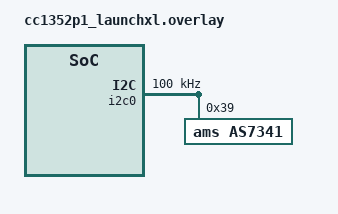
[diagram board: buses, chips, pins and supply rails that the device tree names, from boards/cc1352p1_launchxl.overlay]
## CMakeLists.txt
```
cmake_minimum_required(VERSION 3.20.0)
find_package(Zephyr REQUIRED HINTS $ENV{ZEPHYR_BASE})
project(as7341_spectrometry)

target_sources(app PRIVATE 
src/main.c
src/as7341.c
)
```

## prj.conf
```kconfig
CONFIG_PRINTK=y
CONFIG_LOG=y
CONFIG_LOG_DEFAULT_LEVEL=0
CONFIG_USERSPACE=y
CONFIG_I2C=y
CONFIG_I2C_LOG_LEVEL_DBG=n



CONFIG_STDOUT_CONSOLE=y
CONFIG_SERIAL=y
CONFIG_FPU=y
CONFIG_TEST=n
CONFIG_THREAD_RUNTIME_STATS=n
CONFIG_NEWLIB_LIBC=y
CONFIG_NEWLIB_LIBC_FLOAT_PRINTF=y

CONFIG_MAIN_STACK_SIZE=4096


CONFIG_ZSL=y
CONFIG_ZSL_PLATFORM_OPT=2
CONFIG_ZSL_SINGLE_PRECISION=n
CONFIG_ZSL_VECTOR_INLINE=n
CONFIG_ZSL_MATRIX_INLINE=n
CONFIG_ZSL_BOUNDS_CHECKS=y
```

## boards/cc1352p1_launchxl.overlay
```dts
&pinctrl {

    /* I2C0 */
    i2c0_scl_default: i2c0_scl_default {
        pinmux = <21 IOC_PORT_MCU_I2C_MSSCL>;
        bias-pull-up;
        drive-open-drain;
        input-enable;
    };
    i2c0_sda_default: i2c0_sda_default {
        pinmux = <5 IOC_PORT_MCU_I2C_MSSDA>;
        bias-pull-up;
        drive-open-drain;
        input-enable;
    };
 };
 

&i2c0 {
    status = "okay";
    clock-frequency = <I2C_BITRATE_STANDARD>;
    pinctrl-0 = <&i2c0_scl_default &i2c0_sda_default>;
    
    as7341@39 {
        compatible = "ams,as7341";
        reg = <0x39>;
        label = "AS7341";
    };
};
```

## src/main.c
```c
#include <stdio.h>
#include <stdlib.h>

#include <zephyr/kernel.h>
#include <zsl/zsl.h>
#include <zsl/matrices.h>
#include <zsl/colorimetry.h>

#include "as7341.h"
#include "cm.h"
#include "v_lambda.h"

#define COLOR_METRICS
#define SPECTRUM_ESTIMATION

#define CM_ROWS 401
#define CM_COLS 8

#define SPD_SIZE 401  // Wavelengths from 380 nm to 780 nm

#define STACK_SIZE 4096
#define PRIORITY 7

// Message queue buffer
#define QUEUE_SIZE 5  // Store up to 5 sensor readings
K_MSGQ_DEFINE(sensor_msgq, sizeof(int[8]), QUEUE_SIZE, 4);

// Semaphore to signal processing thread
K_SEM_DEFINE(sem_process, 0, 1);

// Thread stacks
K_THREAD_STACK_DEFINE(sensor_stack, STACK_SIZE);
K_THREAD_STACK_DEFINE(process_stack, STACK_SIZE);

// Thread control
struct k_thread sensor_thread;
struct k_thread process_thread;

float result_matrix[CM_ROWS] = {0};

// Declare the global XYZ struct
struct zsl_clr_xyz xyz; 
struct zsl_clr_xyy xyy;
struct zsl_clr_uv60 uv;
struct zsl_clr_cct cct;
enum zsl_clr_uv_cct_method method = ZSL_CLR_UV_CCT_METHOD_MCCAMY;

// define illuminance

typedef struct {
    float wavelength;
    float value;
} PhotopicData;

// Thread to read sensor data
void thread_read_sensor(void *p1, void *p2, void *p3) {
    if (DEV_ModuleInit() < 0) {
        printk("Module initialization failed\n");
        return;
    }

    const struct device *i2c_dev = DEVICE_DT_GET(DT_NODELABEL(i2c0));
    if (!device_is_ready(i2c_dev)) {
        printk("I2C device is not ready\n");
        return;
    }

    eMode_t mode = eSpm;
    if (AS7341_Init(i2c_dev, mode) != 0) {
        printk("AS7341 initialization failed\n");
        return;
    }

    AS7341_ATIME_config(i2c_dev, 100);
    AS7341_ASTEP_config(i2c_dev, 999);
    AS7341_AGAIN_config(i2c_dev, 6);
    AS7341_EnableLED(i2c_dev, true);
    k_msleep(100);

    sModeOneData_t data;
    sModeTwoData_t data2;

       

    while (1) {

        AS7341_startMeasure(i2c_dev, eF1F4ClearNIR, eSpm);
        data = AS7341_ReadSpectralDataOne(i2c_dev);
                
        
        AS7341_startMeasure(i2c_dev, eF5F8ClearNIR, eSpm);
        data2=AS7341_ReadSpectralDataTwo(i2c_dev);
        
        printk("[Thread Read] Reading sensor data...\n");

        int sensor_data[8];
        sensor_data[0] = data.channel1;
        sensor_data[1] = data.channel2;
        sensor_data[2] = data.channel3;
        sensor_data[3] = data.channel4;
        sensor_data[4] = data2.channel5;
        sensor_data[5] = data2.channel6;
        sensor_data[6] = data2.channel7;
        sensor_data[7] = data2.channel8;

        printk("[Thread Read] Storing data in queue...\n");

        // Send sensor data to message queue (blocking if full)
        k_msgq_put(&sensor_msgq, &sensor_data, K_FOREVER);

        // Print sensor vector for debugging
        for (int i = 0; i < 8; i++) {
            printk("sensor_data[%d] = %d\n", i, sensor_data[i]);
        }

        // Signal processing thread that data is available
        k_sem_give(&sem_process);

        k_msleep(2000);
    }
}

// Function to multiply matrices
void matrix_multiply(int *sensor_data) {
    printk("[Matrix Multiply] Starting multiplication...\n");

    for (int i = 0; i < CM_ROWS; i++) {
        float sum = 0.0f;
        for (int j = 0; j < CM_COLS; j++) {
            sum += cm_data[i][j] * sensor_data[j];
        }
        result_matrix[i] = sum;
    }

    printk("[Matrix Multiply] Multiplication complete.\n");

    // for (int i = 0; i < 401; i++) {
    //     printk("result_matrix[%d] = %f\n", i, result_matrix[i]);
    // }
}

//calculate illumiance
float calculate_illuminance(void) {
    float integral = 0.0;

    for (int i = 0; i < SPD_SIZE - 1; i++) {
        float s1 = result_matrix[i] * v_lambda[i];
        float s2 = result_matrix[i + 1] * v_lambda[i + 1];

    
        integral += (s1 + s2) * 0.5f * 1.0f;  // Δλ = 1 nm
    }

    float lux = 683* integral;
   


    return lux;
}

#ifdef COLOR_METRICS
void convert_XYZ(void) {
    
    printk("Starting SPD to XYZ Conversion...\n");
    
    // Allocate memory for SPD structure
    struct zsl_clr_spd *spd = malloc(sizeof(struct zsl_clr_spd) + SPD_SIZE * sizeof(spd->comps[0]));


    if (spd == NULL) {
        printk("Memory allocation failed for SPD components!\n");
        return;
    }

    spd->size = SPD_SIZE;

    for (int i = 0; i < SPD_SIZE; i++) {
        spd->comps[i].nm = 380 + i;
        spd->comps[i].value = result_matrix[i];
    }
    
    float lux = calculate_illuminance();
    printk("Calculated Illuminance: %.2f lux\n", lux);


    int result = zsl_clr_conv_spd_xyz(spd, ZSL_CLR_OBS_2_DEG, &xyz);
    

    if (result == 0) {

        
        printk("XYZ: X = %f, Y = %f, Z = %f\n", xyz.xyz_x, xyz.xyz_y, xyz.xyz_z);
        
        

        zsl_clr_conv_xyz_xyy(&xyz, &xyy); // convert xyz into xyY

        
        printk("xyY: x = %f, y = %f \n", xyy.xyy_x, xyy.xyy_y);
        
        
        // calculate cct
        float n = (xyy.xyy_x - 0.3320) / (0.1858 - xyy.xyy_y);
        //float cct_approx = 449.0 * pow(n, 3) + 3525.0 * pow(n, 2) + 6823.3 * n + 5520.33;
        //printk("CCT (McCamy Approximation): %f K\n", cct_approx);
        zsl_clr_conv_xyy_uv60(&xyy, &uv);
        
        printk(" u = %f, v = %f \n",uv.uv60_u,uv.uv60_v);
        
        zsl_clr_conv_uv60_cct(method, &uv, &cct);

        
        printk("CCT: %f K \n", cct.cct);
                
        
    
    } else {
        #ifndef low_power
        printk("XYZ to xyY conversion failed!\n");
        #endif

    }

    free(spd);
}
#endif

#ifdef SPECTRUM_ESTIMATION
// Thread to process sensor data
void thread_data_analyse(void *p1, void *p2, void *p3) {
    int sensor_data[8];

    while (1) {
        // Wait for new data
        k_sem_take(&sem_process, K_FOREVER);

        // Retrieve sensor data from queue
        if (k_msgq_get(&sensor_msgq, &sensor_data, K_NO_WAIT) == 0) {
            printk("[Thread Analyse] Processing sensor data...\n");

            matrix_multiply(sensor_data);

            #ifdef COLOR_METRICS
            convert_XYZ();
            #endif

            static int iteration = 0;
            iteration++;
            printk("Number of iterations = %d\n", iteration);

            k_msleep(1000);
        }
    }


}
#endif

// Main function
int main(void) {
    printk("Starting Zephyr application...\n");

    k_thread_create(&sensor_thread, sensor_stack, STACK_SIZE,
                    thread_read_sensor, NULL, NULL, NULL,
                    PRIORITY, 0, K_NO_WAIT);

    k_thread_create(&process_thread, process_stack, STACK_SIZE,
                    thread_data_analyse, NULL, NULL, NULL,
                    PRIORITY, 0, K_NO_WAIT);

    printk("All threads started successfully!\n");
    k_sleep(K_FOREVER);
}
```

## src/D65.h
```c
#ifndef CIE_STD_ILLUM_D65_H
#define CIE_STD_ILLUM_D65_H

#ifdef __cplusplus
extern "C" {
#endif

#define CIE_D65_DATA_SIZE 401

typedef struct {
    int wavelength;
    float intensity;
} CIE_D65_Data_t;

static const CIE_D65_Data_t CIE_D65_DATA[CIE_D65_DATA_SIZE] = {
    { 380, 49.9755 },
    { 381, 50.4428 },
    { 382, 50.9100 },
    { 383, 51.3773 },
    { 384, 51.8446 },
    { 385, 52.3118 },
    { 386, 52.7791 },
    { 387, 53.2464 },
    { 388, 53.7137 },
    { 389, 54.1809 },
    { 390, 54.6482 },
    { 391, 57.4589 },
    { 392, 60.2695 },
    { 393, 63.0802 },
    { 394, 65.8909 },
    { 395, 68.7015 },
    { 396, 71.5122 },
    { 397, 74.3229 },
    { 398, 77.1336 },
    { 399, 79.9442 },
    { 400, 82.7549 },
    { 401, 83.6280 },
    { 402, 84.5011 },
    { 403, 85.3742 },
    { 404, 86.2473 },
    { 405, 87.1204 },
    { 406, 87.9936 },
    { 407, 88.8667 },
    { 408, 89.7398 },
    { 409, 90.6129 },
    { 410, 91.4860 },
    { 411, 91.6806 },
    { 412, 91.8752 },
    { 413, 92.0697 },
    { 414, 92.2643 },
    { 415, 92.4589 },
    { 416, 92.6535 },
    { 417, 92.8481 },
    { 418, 93.0426 },
    { 419, 93.2372 },
    { 420, 93.4318 },
    { 421, 92.7568 },
    { 422, 92.0819 },
    { 423, 91.4069 },
    { 424, 90.7320 },
    { 425, 90.0570 },
    { 426, 89.3821 },
    { 427, 88.7071 },
    { 428, 88.0322 },
    { 429, 87.3572 },
    { 430, 86.6823 },
    { 431, 88.5006 },
    { 432, 90.3188 },
    { 433, 92.1371 },
    { 434, 93.9554 },
    { 435, 95.7736 },
    { 436, 97.5919 },
    { 437, 99.4102 },
    { 438, 101.2280 },
    { 439, 103.0470 },
    { 440, 104.8650 },
    { 441, 106.0790 },
    { 442, 107.2940 },
    { 443, 108.5080 },
    { 444, 109.7220 },
    { 445, 110.9360 },
    { 446, 112.1510 },
    { 447, 113.3650 },
    { 448, 114.5790 },
    { 449, 115.7940 },
    { 450, 117.0080 },
    { 451, 117.0880 },
    { 452, 117.1690 },
    { 453, 117.2490 },
    { 454, 117.3300 },
    { 455, 117.4100 },
    { 456, 117.4900 },
    { 457, 117.5710 },
    { 458, 117.6510 },
    { 459, 117.7320 },
    { 460, 117.8120 },
    { 461, 117.5170 },
    { 462, 117.2220 },
    { 463, 116.9270 },
    { 464, 116.6320 },
    { 465, 116.3360 },
    { 466, 116.0410 },
    { 467, 115.7460 },
    { 468, 115.4510 },
    { 469, 115.1560 },
    { 470, 114.8610 },
    { 471, 114.9670 },
    { 472, 115.0730 },
    { 473, 115.1800 },
    { 474, 115.2860 },
    { 475, 115.3920 },
    { 476, 115.4980 },
    { 477, 115.6040 },
    { 478, 115.7110 },
    { 479, 115.8170 },
    { 480, 115.9230 },
    { 481, 115.2120 },
    { 482, 114.5010 },
    { 483, 113.7890 },
    { 484, 113.0780 },
    { 485, 112.3670 },
    { 486, 111.6560 },
    { 487, 110.9450 },
    { 488, 110.2330 },
    { 489, 109.5220 },
    { 490, 108.8110 },
    { 491, 108.8650 },
    { 492, 108.9200 },
    { 493, 108.9740 },
    { 494, 109.0280 },
    { 495, 109.0820 },
    { 496, 109.1370 },
    { 497, 109.1910 },
    { 498, 109.2450 },
    { 499, 109.3000 },
    { 500, 109.3540 },
    { 501, 109.1990 },
    { 502, 109.0440 },
    { 503, 108.8880 },
    { 504, 108.7330 },
    { 505, 108.5780 },
    { 506, 108.4230 },
    { 507, 108.2680 },
    { 508, 108.1120 },
    { 509, 107.9570 },
    { 510, 107.8020 },
    { 511, 107.5010 },
    { 512, 107.2000 },
    { 513, 106.8980 },
    { 514, 106.5970 },
    { 515, 106.2960 },
    { 516, 105.9950 },
    { 517, 105.6940 },
    { 518, 105.3920 },
    { 519, 105.0910 },
    { 520, 104.7900 },
    { 521, 105.0800 },
    { 522, 105.3700 },
    { 523, 105.6600 },
    { 524, 105.9500 },
    { 525, 106.2390 },
    { 526, 106.5290 },
    { 527, 106.8190 },
    { 528, 107.1090 },
    { 529, 107.3990 },
    { 530, 107.6890 },
    { 531, 107.3610 },
    { 532, 107.0320 },
    { 533, 106.7040 },
    { 534, 106.3750 },
    { 535, 106.0470 },
    { 536, 105.7190 },
    { 537, 105.3900 },
    { 538, 105.0620 },
    { 539, 104.7330 },
    { 540, 104.4050 },
    { 541, 104.3690 },
    { 542, 104.3330 },
    { 543, 104.2970 },
    { 544, 104.2610 },
    { 545, 104.2250 },
    { 546, 104.1900 },
    { 547, 104.1540 },
    { 548, 104.1180 },
    { 549, 104.0820 },
    { 550, 104.0460 },
    { 551, 103.6410 },
    { 552, 103.2370 },
    { 553, 102.8320 },
    { 554, 102.4280 },
    { 555, 102.0230 },
    { 556, 101.6180 },
    { 557, 101.2140 },
    { 558, 100.8090 },
    { 559, 100.4050 },
    { 560, 100.0000 },
    { 561, 99.6334 },
    { 562, 99.2668 },
    { 563, 98.9003 },
    { 564, 98.5337 },
    { 565, 98.1671 },
    { 566, 97.8005 },
    { 567, 97.4339 },
    { 568, 97.0674 },
    { 569, 96.7008 },
    { 570, 96.3342 },
    { 571, 96.2796 },
    { 572, 96.2250 },
    { 573, 96.1703 },
    { 574, 96.1157 },
    { 575, 96.0611 },
    { 576, 96.0065 },
    { 577, 95.9519 },
    { 578, 95.8972 },
    { 579, 95.8426 },
    { 580, 95.7880 },
    { 581, 95.0778 },
    { 582, 94.3675 },
    { 583, 93.6573 },
    { 584, 92.9470 },
    { 585, 92.2368 },
    { 586, 91.5266 },
    { 587, 90.8163 },
    { 588, 90.1061 },
    { 589, 89.3958 },
    { 590, 88.6856 },
    { 591, 88.8177 },
    { 592, 88.9497 },
    { 593, 89.0818 },
    { 594, 89.2138 },
    { 595, 89.3459 },
    { 596, 89.4780 },
    { 597, 89.6100 },
    { 598, 89.7421 },
    { 599, 89.8741 },
    { 600, 90.0062 },
    { 601, 89.9655 },
    { 602, 89.9248 },
    { 603, 89.8841 },
    { 604, 89.8434 },
    { 605, 89.8026 },
    { 606, 89.7619 },
    { 607, 89.7212 },
    { 608, 89.6805 },
    { 609, 89.6398 },
    { 610, 89.5991 },
    { 611, 89.4091 },
    { 612, 89.2190 },
    { 613, 89.0290 },
    { 614, 88.8389 },
    { 615, 88.6489 },
    { 616, 88.4589 },
    { 617, 88.2688 },
    { 618, 88.0788 },
    { 619, 87.8887 },
    { 620, 87.6987 },
    { 621, 87.2577 },
    { 622, 86.8167 },
    { 623, 86.3757 },
    { 624, 85.9347 },
    { 625, 85.4936 },
    { 626, 85.0526 },
    { 627, 84.6116 },
    { 628, 84.1706 },
    { 629, 83.7296 },
    { 630, 83.2886 },
    { 631, 83.3297 },
    { 632, 83.3707 },
    { 633, 83.4118 },
    { 634, 83.4528 },
    { 635, 83.4939 },
    { 636, 83.5350 },
    { 637, 83.5760 },
    { 638, 83.6171 },
    { 639, 83.6581 },
    { 640, 83.6992 },
    { 641, 83.3320 },
    { 642, 82.9647 },
    { 643, 82.5975 },
    { 644, 82.2302 },
    { 645, 81.8630 },
    { 646, 81.4958 },
    { 647, 81.1285 },
    { 648, 80.7613 },
    { 649, 80.3940 },
    { 650, 80.0268 },
    { 651, 80.0456 },
    { 652, 80.0644 },
    { 653, 80.0831 },
    { 654, 80.1019 },
    { 655, 80.1207 },
    { 656, 80.1395 },
    { 657, 80.1583 },
    { 658, 80.1770 },
    { 659, 80.1958 },
    { 660, 80.2146 },
    { 661, 80.4209 },
    { 662, 80.6272 },
    { 663, 80.8336 },
    { 664, 81.0399 },
    { 665, 81.2462 },
    { 666, 81.4525 },
    { 667, 81.6588 },
    { 668, 81.8652 },
    { 669, 82.0715 },
    { 670, 82.2778 },
    { 671, 81.8784 },
    { 672, 81.4791 },
    { 673, 81.0797 },
    { 674, 80.6804 },
    { 675, 80.2810 },
    { 676, 79.8816 },
    { 677, 79.4823 },
    { 678, 79.0829 },
    { 679, 78.6836 },
    { 680, 78.2842 },
    { 681, 77.4279 },
    { 682, 76.5716 },
    { 683, 75.7153 },
    { 684, 74.8590 },
    { 685, 74.0027 },
    { 686, 73.1465 },
    { 687, 72.2902 },
    { 688, 71.4339 },
    { 689, 70.5776 },
    { 690, 69.7213 },
    { 691, 69.9101 },
    { 692, 70.0989 },
    { 693, 70.2876 },
    { 694, 70.4764 },
    { 695, 70.6652 },
    { 696, 70.8540 },
    { 697, 71.0428 },
    { 698, 71.2315 },
    { 699, 71.4203 },
    { 700, 71.6091 },
    { 701, 71.8831 },
    { 702, 72.1571 },
    { 703, 72.4311 },
    { 704, 72.7051 },
    { 705, 72.9790 },
    { 706, 73.2530 },
    { 707, 73.5270 },
    { 708, 73.8010 },
    { 709, 74.0750 },
    { 710, 74.3490 },
    { 711, 73.0745 },
    { 712, 71.8000 },
    { 713, 70.5255 },
    { 714, 69.2510 },
    { 715, 67.9765 },
    { 716, 66.7020 },
    { 717, 65.4275 },
    { 718, 64.1530 },
    { 719, 62.8785 },
    { 720, 61.6040 },
    { 721, 62.4322 },
    { 722, 63.2603 },
    { 723, 64.0885 },
    { 724, 64.9166 },
    { 725, 65.7448 },
    { 726, 66.5730 },
    { 727, 67.4011 },
    { 728, 68.2293 },
    { 729, 69.0574 },
    { 730, 69.8856 },
    { 731, 70.4057 },
    { 732, 70.9259 },
    { 733, 71.4460 },
    { 734, 71.9662 },
    { 735, 72.4863 },
    { 736, 73.0064 },
    { 737, 73.5266 },
    { 738, 74.0467 },
    { 739, 74.5669 },
    { 740, 75.0870 },
    { 741, 73.9376 },
    { 742, 72.7881 },
    { 743, 71.6387 },
    { 744, 70.4893 },
    { 745, 69.3398 },
    { 746, 68.1904 },
    { 747, 67.0410 },
    { 748, 65.8916 },
    { 749, 64.7421 },
    { 750, 63.5927 },
    { 751, 61.8752 },
    { 752, 60.1578 },
    { 753, 58.4403 },
    { 754, 56.7229 },
    { 755, 55.0054 },
    { 756, 53.2880 },
    { 757, 51.5705 },
    { 758, 49.8531 },
    { 759, 48.1356 },
    { 760, 46.4182 },
    { 761, 48.4569 },
    { 762, 50.4956 },
    { 763, 52.5344 },
    { 764, 54.5731 },
    { 765, 56.6118 },
    { 766, 58.6505 },
    { 767, 60.6892 },
    { 768, 62.7280 },
    { 769, 64.7667 },
    { 770, 66.8054 },
    { 771, 66.4631 },
    { 772, 66.1209 },
    { 773, 65.7786 },
    { 774, 65.4364 },
    { 775, 65.0941 },
    { 776, 64.7518 },
    { 777, 64.4096 },
    { 778, 64.0673 },
    { 779, 63.7251 },
    { 780, 63.3828 },
};

#ifdef __cplusplus
}
#endif

#endif // CIE_STD_ILLUM_D65_H
```

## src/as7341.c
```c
#include <zephyr/drivers/i2c.h>
#include <zephyr/kernel.h>
#include <zephyr/device.h>
#include <zephyr/logging/log.h>
#include "as7341.h"

// Function to get the I2C device
const struct device *get_i2c_device(void)
{
    const struct device *i2c_dev = DEVICE_DT_GET(I2C_NODE);

    if (!device_is_ready(i2c_dev)) {
        printk("I2C device is not ready\n");
        return NULL;
    }

    return i2c_dev;
}

// Initialize the module
int DEV_ModuleInit(void)
{
    const struct device *i2c_dev = get_i2c_device();
    if (!i2c_dev) {
        printk("Failed to get I2C device\n");
        return -1;
    }

    printk("Module initialization complete\n");
    return 0; // Return success
}


//AS7341_Init
int AS7341_Init(const struct device *i2c_dev, eMode_t mode)
{
    
    AS7341_Enable(i2c_dev, true);
    uint8_t measureMode = mode;
    printk("AS7341 initialized successfully with mode %d \n", mode);
    return 0;
}


void AS7341_Enable(const struct device *i2c_dev, bool flag)
{
    
    uint8_t data=0, data1=0;
    //i2c_dev = DEVICE_DT_GET(DT_NODELABEL(i2c0));
    if (!device_is_ready(i2c_dev)) {
        printk("I2C device not ready \n");
        return;
    }

    // Read the AS7341_ENABLE register
    if(i2c_reg_read_byte(i2c_dev, AS7341_ADDRESS, AS7341_ENABLE, &data)<0)
    {
        printk("Failed to read ENABLE register \n");
        return;
    }

    // Set or clear bit 0 to enable or disable the AS7341
    if (flag==true) {
        data |= (1 << 0);
    } else {
        data &= ~(1<<0);
    }

    // Write the updated value back to the AS7341_ENABLE register
    if(i2c_reg_write_byte(i2c_dev, AS7341_ADDRESS, AS7341_ENABLE, data)<0){
        printk("Failed to write ENABLE register\n");
        return;
    }

    k_msleep(500);
    if(i2c_reg_read_byte(i2c_dev, AS7341_ADDRESS, AS7341_ENABLE, &data1)<0){
        printk("failed to verify ENABLE register\n");
        return;
    }
    


    if (data1 == data) 
    {
        printk("Initialization is complete!\n");
        return;
    } 
    else 
    {   
        printk("Initialization failed! Check I2C connections.\n");
        return;
        
    }

    

    //Write 0x30 to register 0x00 as per the original logic
    if(i2c_reg_write_byte(i2c_dev, AS7341_ADDRESS, 0x00, 0x30)<0){
        printk("failed to write to register\n");
        return;
    }
    printk("as7341 enable successfully\n");
    
}

//  query the i2c device for its response
int DEV_I2C_Query(const struct device *i2c_dev)
{
    uint8_t dummy = 0;
    int ret = i2c_write(i2c_dev, &dummy, 0, AS7341_ADDRESS);

    if (ret == 0) {
        printk("I2C device at address 0x%02X is responding \n", AS7341_ADDRESS);
        return 0; // No error
    } else {
        printk("I2C device at address 0x%02X not responding (error: %d)\n", AS7341_ADDRESS, ret);
        return -1; // Error occurred
    }
}



// AS7341_SetBank
void AS7341_SetBank(const struct device *i2c_dev, uint8_t addr)
{
    uint8_t data = 0;

    i2c_reg_read_byte(i2c_dev, AS7341_ADDRESS, AS7341_CFG_0, &data);

    if (addr == 1) {
        data |= (1 << 4);  // Set bit 4 to select bank 1
    } else {
        data &= ~(1 << 4); // Clear bit 4 to select bank 0
    }

    i2c_reg_write_byte(i2c_dev, AS7341_ADDRESS, AS7341_CFG_0, data);
}
//AS7341_EnableLED
void AS7341_EnableLED(const struct device *i2c_dev, bool flag)
{
    uint8_t data = 0;
    uint8_t data1 = 0;

    AS7341_SetBank(i2c_dev, 1);  // Switch to register bank 1

    i2c_reg_read_byte(i2c_dev, AS7341_ADDRESS, AS7341_CONFIG, &data);
    i2c_reg_read_byte(i2c_dev, AS7341_ADDRESS, AS7341_LED, &data1);

    if (flag) {
        data |= 0x08;  // Set bit to enable LED
    } else {
        data &= 0xF7;  // Clear bit to disable LED
        data1 &= 0x7F; // Clear bit 7 in LED register
        i2c_reg_write_byte(i2c_dev, AS7341_ADDRESS, AS7341_LED, data1);
    }

    i2c_reg_write_byte(i2c_dev, AS7341_ADDRESS, AS7341_CONFIG, data);

    AS7341_SetBank(i2c_dev, 0);  // Switch back to default bank
}

//AS7341_ATIME_config
void AS7341_ATIME_config(const struct device *i2c_dev, uint8_t value)
{
    // Write the value to the ATIME register
    if (i2c_reg_write_byte(i2c_dev, AS7341_ADDRESS, AS7341_ATIME, value) < 0) {
        printk("Failed to write ATIME register \n");
    } else {
        printk("ATIME configured with value: 0x%02X \n", value);
    }
}

//AS7341_ASTEP_config
void AS7341_ASTEP_config(const struct device *i2c_dev, uint16_t value)
{
    uint8_t lowValue = value & 0x00FF;
    uint8_t highValue = (value >> 8) & 0x00FF;

    // Write the low byte
    if (i2c_reg_write_byte(i2c_dev, AS7341_ADDRESS, AS7341_ASTEP_L, lowValue) < 0) {
        printk("Failed to write low byte of ASTEP register \n");
        return;
    }

    // Write the high byte
    if (i2c_reg_write_byte(i2c_dev, AS7341_ADDRESS, AS7341_ASTEP_H, highValue) < 0) {
        printk("Failed to write high byte of ASTEP register \n");
        return;
    }

    printk("ASTEP configured with value: 0x%04X \n", value);
}
// AS7341_AGAIN_config
void AS7341_AGAIN_config(const struct device *i2c_dev, uint8_t value)
{
    // Clamp the gain value to the maximum allowable (10)
    if (value > 10) {
        value = 10;
    }

    // Write the value to the CFG_1 register
    int ret = i2c_reg_write_byte(i2c_dev, AS7341_ADDRESS, AS7341_CFG_1, value);
    if (ret < 0) {
        printk("Failed to write gain value to CFG_1 register (error %d)\n", ret);
    } else {
        printk("Gain configured successfully with value: %d \n", value);
    }
}

// AS7341_Conrtolled
void AS7341_ControlLed(const struct device *i2c_dev, bool LED, uint8_t current)
{
    uint8_t data = 0;

    // Clamp the current intensity between 1 and 19
    if (current < 1) current = 1;
    if (current > 19) current = 19;
    current--;

    AS7341_SetBank(i2c_dev, 1);  // Switch to bank 1 for LED control

    if (LED) {
        data = 0x80 | current;  // Set bit 7 to enable LED with specified brightness
    } else {
        data = current;         // Set brightness only, with LED disabled
    }

    i2c_reg_write_byte(i2c_dev, AS7341_ADDRESS, AS7341_LED, data);

    k_msleep(100);  // Delay for 100 ms to apply settings

    AS7341_SetBank(i2c_dev, 0);  // Switch back to default bank
    
}

// Function to configure SMUX for F1-F4, CLEAR, NIR
void F1F4_Clear_NIR(const struct device *i2c_dev)
{
    uint8_t register_values[][2] = {
        {0x00, 0x30}, {0x01, 0x01}, {0x02, 0x00}, {0x03, 0x00},
        {0x04, 0x00}, {0x05, 0x42}, {0x06, 0x00}, {0x07, 0x00},
        {0x08, 0x50}, {0x09, 0x00}, {0x0A, 0x00}, {0x0B, 0x00},
        {0x0C, 0x20}, {0x0D, 0x04}, {0x0E, 0x00}, {0x0F, 0x30},
        {0x10, 0x01}, {0x11, 0x50}, {0x12, 0x00}, {0x13, 0x06}
    };

    for (size_t i = 0; i < sizeof(register_values) / sizeof(register_values[0]); i++) {
        if (i2c_reg_write_byte(i2c_dev, AS7341_ADDRESS, register_values[i][0], register_values[i][1]) < 0) {
            printk("Failed to write to register 0x%02X \n", register_values[i][0]);
        }
    }
}
//Function to configure SMUX for F5-F8, CLEAR, NIR
void F5F8_Clear_NIR(const struct device *i2c_dev)
{
    // Define register-value pairs
    uint8_t register_values[][2] = {
        {0x00, 0x00}, {0x01, 0x00}, {0x02, 0x00}, {0x03, 0x40},
        {0x04, 0x02}, {0x05, 0x00}, {0x06, 0x10}, {0x07, 0x03},
        {0x08, 0x50}, {0x09, 0x10}, {0x0A, 0x03}, {0x0B, 0x00},
        {0x0C, 0x00}, {0x0D, 0x00}, {0x0E, 0x24}, {0x0F, 0x00},
        {0x10, 0x00}, {0x11, 0x50}, {0x12, 0x00}, {0x13, 0x06}
    };

    // Write each register-value pair
    for (size_t i = 0; i < sizeof(register_values) / sizeof(register_values[0]); i++) {
        if (i2c_reg_write_byte(i2c_dev, AS7341_ADDRESS, register_values[i][0], register_values[i][1]) < 0) {
            printk("Failed to write to register 0x%02X \n", register_values[i][0]);
        } else {
            printk("Register 0x%02X set to 0x%02X \n", register_values[i][0], register_values[i][1]);
        }
    }

    printk("F5F8_Clear_NIR configuration completed \n");
}




// Function to enable  spectral measurement
void AS7341_EnableSpectralMeasure(const struct device *i2c_dev, bool flag)
{
    uint8_t data;
    if (i2c_reg_read_byte(i2c_dev, AS7341_ADDRESS, AS7341_ENABLE, &data) < 0) {
        printk("Failed to read ENABLE register \n");
        return;
    }

    if (flag) {
        data |= (1 << 1);
    } else {
        data &= ~(1 << 1);
    }

    if (i2c_reg_write_byte(i2c_dev, AS7341_ADDRESS, AS7341_ENABLE, data) < 0) {
        printk("Failed to write ENABLE register \n");
    }
}

//AS7341_EnableSMUX
void AS7341_EnableSMUX(const struct device *i2c_dev, bool flag)
{
    uint8_t data;

    // Read the current value of the ENABLE register
    if (i2c_reg_read_byte(i2c_dev, AS7341_ADDRESS, AS7341_ENABLE, &data) < 0) {
        printk("Failed to read ENABLE register \n");
        return;
    }

    // Modify the SMUX bit (bit 4)
    if (flag) {
        data |= (1 << 4);  // Set bit 4 to enable SMUX
    } else {
        data &= ~(1 << 4); // Clear bit 4 to disable SMUX
    }

    // Write the modified value back to the ENABLE register
    if (i2c_reg_write_byte(i2c_dev, AS7341_ADDRESS, AS7341_ENABLE, data) < 0) {
        printk("Failed to write ENABLE register \n");
        return;
    }

    printk("SMUX %s successfully \n", flag ? "enabled" : "disabled");
}

// AS7341_Config
void AS7341_Config(const struct device *i2c_dev, eMode_t mode)
{
    uint8_t data;

    // Set the bank to 1 to access the CONFIG register
    AS7341_SetBank(i2c_dev, 1);

    // Read the current value of the CONFIG register
    if (i2c_reg_read_byte(i2c_dev, AS7341_ADDRESS, AS7341_CONFIG, &data) < 0) {
        printk("Failed to read CONFIG register \n");
        AS7341_SetBank(i2c_dev, 0); // Ensure we return to bank 0
        return;
    }

    // Update the CONFIG register based on the selected mode
    switch (mode) {
        case eSpm:
            data = (data & ~0x03) | eSpm;
            break;
        case eSyns:
            data = (data & ~0x03) | eSyns;
            break;
        case eSynd:
            data = (data & ~0x03) | eSynd;
            break;
        default:
            printk("Invalid mode selected \n");
            AS7341_SetBank(i2c_dev, 0); // Ensure we return to bank 0
            return;
    }

    // Write the updated value back to the CONFIG register
    if (i2c_reg_write_byte(i2c_dev, AS7341_ADDRESS, AS7341_CONFIG, data) < 0) {
        printk("Failed to write CONFIG register \n");
        AS7341_SetBank(i2c_dev, 0); // Ensure we return to bank 0
        return;
    }

    // Return to bank 0
    AS7341_SetBank(i2c_dev, 0);

    printk("AS7341 configured successfully for mode %d \n", mode);
}

// AS7341_SetGpioMode(
void AS7341_SetGpioMode(const struct device *i2c_dev, uint8_t mode)
{
    uint8_t data;

    // Read the current value of the GPIO_2 register
    if (i2c_reg_read_byte(i2c_dev, AS7341_ADDRESS, AS7341_GPIO_2, &data) < 0) {
        printk("Failed to read GPIO_2 register \n");
        return;
    }

    // Modify the GPIO mode based on the input mode
    if (mode == INPUT) {
        data |= (1 << 2); // Set bit 2 for input mode
    } else if (mode == OUTPUT) {
        data &= ~(1 << 2); // Clear bit 2 for output mode
    } else {
        printk("Invalid mode specified: %d \n", mode);
        return;
    }

    // Write the updated value back to the GPIO_2 register
    if (i2c_reg_write_byte(i2c_dev, AS7341_ADDRESS, AS7341_GPIO_2, data) < 0) {
        printk("Failed to write GPIO_2 register \n");
        return;
    }

    printk("GPIO mode set to %s \n", (mode == INPUT) ? "INPUT" : "OUTPUT");
}

//AS7341_MeasureComplet

bool AS7341_MeasureComplete(const struct device *i2c_dev)
{
    uint8_t status;

    // Read the STATUS_2 register
    if (i2c_reg_read_byte(i2c_dev, AS7341_ADDRESS, AS7341_STATUS_2, &status) < 0) {
        printk("Failed to read STATUS_2 register \n");
        return false; // Assume measurement is not complete on failure
    }

    // Check if bit 6 is set
    return (status & (1 << 6)) != 0;
}



//AS7341_startMeasure
void AS7341_startMeasure(const struct device *i2c_dev, eChChoose_t mode, eMode_t measureMode)
{
    uint8_t data;

    // Read CFG_0 register
    if (i2c_reg_read_byte(i2c_dev, AS7341_ADDRESS, AS7341_CFG_0, &data) < 0) {
        printk("Failed to read CFG_0 register \n");
        return;
    }

    // Clear bit 4 of CFG_0
    data &= ~(1 << 4);
    if (i2c_reg_write_byte(i2c_dev, AS7341_ADDRESS, AS7341_CFG_0, data) < 0) {
        printk("Failed to write CFG_0 register \n");
        return;
    }

    // Disable spectral measurement
    AS7341_EnableSpectralMeasure(i2c_dev, false);

    // Configure SMUX command
    if (i2c_reg_write_byte(i2c_dev, AS7341_ADDRESS, AS7341_SMUX_CMD, 0x10) < 0) {
        printk("Failed to configure SMUX command \n");
        return;
    }

    // Configure channels based on the selected mode
    if (mode == eF1F4ClearNIR) {
        F1F4_Clear_NIR(i2c_dev);
    } else if (mode == eF5F8ClearNIR) {
        F5F8_Clear_NIR(i2c_dev);
    }

    // Enable SMUX
    AS7341_EnableSMUX(i2c_dev, true);

    // Configure the measurement mode
    if (measureMode == eSyns) {
        AS7341_SetGpioMode(i2c_dev,OUTPUT);
        AS7341_Config(i2c_dev, eSyns);
    } else if (measureMode == eSpm) {
        AS7341_Config(i2c_dev, eSpm);
    }

    // Enable spectral measurement
    AS7341_EnableSpectralMeasure(i2c_dev, true);

    // Wait for measurement to complete if in SPM mode
    if (measureMode == eSpm) {
        while (!AS7341_MeasureComplete(i2c_dev)) {
            k_msleep(1); // Use Zephyr's delay API
        }
    }

    printk("Measurement started successfully in mode %d \n", measureMode);
}
// Function to read data from a specific channel
int AS7341_GetChannelData(const struct device *i2c_dev, uint8_t channel, uint16_t *data)
{
    uint8_t data_low, data_high;

    // Read the low byte of the channel data
    if (i2c_reg_read_byte(i2c_dev, AS7341_ADDRESS, AS7341_CH0_DATA_L + channel * 2, &data_low) < 0) {
        printk("Failed to read low byte of channel %d \n", channel);
        return -1;
    }

    // Read the high byte of the channel data
    if (i2c_reg_read_byte(i2c_dev, AS7341_ADDRESS, AS7341_CH0_DATA_H + channel * 2, &data_high) < 0) {
        printk("Failed to read high byte of channel %d \n", channel);
        return -1;
    }

    // Combine high and low bytes into a 16-bit value
    *data = (data_high << 8) | data_low;
    k_msleep(50); // Optional delay for stability
    return 0;
}


// Function to read spectral data using SMUX from low channel
sModeOneData_t AS7341_ReadSpectralDataOne(const struct device *i2c_dev)
{
    sModeOneData_t data = {0};

    AS7341_GetChannelData(i2c_dev, 0, &data.channel1);
    AS7341_GetChannelData(i2c_dev, 1, &data.channel2);
    AS7341_GetChannelData(i2c_dev, 2, &data.channel3);
    AS7341_GetChannelData(i2c_dev, 3, &data.channel4);
    AS7341_GetChannelData(i2c_dev, 4, &data.CLEAR);
    AS7341_GetChannelData(i2c_dev, 5, &data.NIR);

    return data;
}
// Function to read spectral data using SMUX from high channel


sModeTwoData_t AS7341_ReadSpectralDataTwo(const struct device *i2c_dev)
{
    sModeTwoData_t data2 = {0};

    AS7341_GetChannelData(i2c_dev, 0, &data2.channel5);
    AS7341_GetChannelData(i2c_dev, 1, &data2.channel6);
    AS7341_GetChannelData(i2c_dev, 2, &data2.channel7);
    AS7341_GetChannelData(i2c_dev, 3, &data2.channel8);
    AS7341_GetChannelData(i2c_dev, 4, &data2.CLEAR);
    AS7341_GetChannelData(i2c_dev, 5, &data2.NIR);

    return data2;
}
// read flicker data

uint8_t AS7341_ReadFlickerData(const struct device *i2c_dev)
{

	uint8_t flicker;
	uint8_t data=0;
	// Read CFG_0 register
    if (i2c_reg_read_byte(i2c_dev, AS7341_ADDRESS, AS7341_CFG_0, &data) < 0) {
        printk("Failed to read CFG_0 register \n");
        return;
    }
	// Clear bit 4 of CFG_0
    data = data& (~(1 << 4));
    if (i2c_reg_write_byte(i2c_dev, AS7341_ADDRESS, AS7341_CFG_0, data) < 0) {
        printk("Failed to write CFG_0 register \n");
        return;
    }

	AS7341_EnableSpectralMeasure(i2c_dev,false);
    //write value 0x10 to 0xAF register
    if(i2c_reg_write_byte(i2c_dev, AS7341_ADDRESS, 0xAF, 0x10)<0){
        printk("failed to write to register \n");
        return;
    }
	FDConfig(i2c_dev);
	AS7341_EnableSMUX(i2c_dev,true);
	AS7341_EnableSpectralMeasure(i2c_dev,true);
	AS7341_EnableFlickerDetection(i2c_dev,true);
    if(i2c_reg_write_byte(i2c_dev, AS7341_ADDRESS, 0xDA, 0x10)<0){
        printk("failed to write to register \n");
        return;
    }
    uint8_t retry=100;
    if(retry==0){
        printk("data access error \n");
    }
    AS7341_EnableFlickerDetection(i2c_dev,true);
    k_msleep(600);
	if((flicker = i2c_reg_read_byte(i2c_dev, AS7341_ADDRESS, AS7341_STATUS,&flicker))<0){
        printk("failed to read AS7341_STATUS register \n");
        return;
    }
    printk("Flicker : %d\n",flicker);
	
	AS7341_EnableFlickerDetection(i2c_dev,false);
	switch(flicker){
		case 37:
		  flicker = 100;
		  break;
		case 40:
		  flicker = 0;
		  break;
		case 42:
		  flicker = 120;
		  break;		  
		case 44:
		  flicker = 1;
		  break;		  
		case 45:
		  flicker = 2;
		  break;		  
		default:
		  flicker = 2;
	  }
	return flicker;
}


// enable flicker detection
void AS7341_EnableFlickerDetection(const struct device *i2c_dev, bool flag)
{
    uint8_t data = 0;

    // Read the AS7341_ENABLE register
    if (i2c_reg_read_byte(i2c_dev, AS7341_ADDRESS, AS7341_ENABLE, &data) < 0) {
        printk("Failed to read AS7341_ENABLE register \n");
        return; 
    }

    // Set or clear the flicker detection bit (bit 6)
    if (flag) {
        data |= (1 << 6); // Enable flicker detection
        data |= (1<<0);
    } else {
        data &= ~(1 << 6); // Disable flicker detection
        data &= ~(1 << 0);
    }

    // Write back the updated value to the AS7341_ENABLE register
    if (i2c_reg_write_byte(i2c_dev,AS7341_ADDRESS, AS7341_ENABLE, data) < 0) {
        printk("Failed to write AS7341_ENABLE register \n");
        return; // Exit if write operation fails
    }
    
    printk("Flicker detection %s successfully\n", flag ? "enabled" : "disabled");
}

//FDCongig

void FDConfig(const struct device *i2c_dev) 
{
    // Array of register-value pairs for configuration
    const uint8_t register_values[][2] = {
        {0x00, 0x00}, {0x01, 0x00}, {0x02, 0x00}, {0x03, 0x00},
        {0x04, 0x00}, {0x05, 0x00}, {0x06, 0x00}, {0x07, 0x00},
        {0x08, 0x00}, {0x09, 0x00}, {0x0A, 0x00}, {0x0B, 0x00},
        {0x0C, 0x00}, {0x0D, 0x00}, {0x0E, 0x00}, {0x0F, 0x00},
        {0x10, 0x00}, {0x11, 0x00}, {0x12, 0x00}, {0x13, 0x60}
    };

    // Loop through the register-value pairs
    for (size_t i = 0; i < sizeof(register_values) / sizeof(register_values[0]); i++) {
        int ret = i2c_reg_write_byte(i2c_dev, AS7341_ADDRESS, 
                                     register_values[i][0], 
                                     register_values[i][1]);
        if (ret < 0) {
            printk("Failed to write to register 0x%02X\n", register_values[i][0]);
        } else {
            printk("Register 0x%02X set to 0x%02X\n", register_values[i][0], register_values[i][1]);
        }
    }

    printk("FDConfig completed\n");
}
```

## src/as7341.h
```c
#ifndef _AS7341_H_
#define _AS7341_H_
#include <stdint.h>
#include <stdbool.h>
#define INPUT  1
#define OUTPUT 0
#include <zephyr/device.h>
#define I2C_NODE DT_NODELABEL(i2c0)


#define AS7341_ADDRESS      (0X39)
#define AS7341_SMUX_CMD    (0xAF)
#define AS7341_ASTATUS     (0X60) //ASTATUS Register (Address 0x60 or 0x94)

#define AS7341_CONFIG      (0X70)
#define AS7341_STAT        (0X71)
#define AS7341_EDGE        (0X72)
#define AS7341_CPIO        (0X73)
#define AS7341_LED         (0X74)

#define AS7341_ENABLE      (0X80)
#define AS7341_ATIME       (0X81)
#define AS7341_WTIME       (0X83)

#define AS7341_SP_TH_L_LSB (0X84)
#define AS7341_SP_TH_L_MSB (0X85)
#define AS7341_SP_TH_H_LSB (0X86)
#define AS7341_SP_TH_H_MSB (0X87)
#define AS7341_AUXID       (0X90)
#define AS7341_REVID       (0X91)

#define AS7341_ID          (0X92)
#define AS7341_STATUS_1    (0X93)
//#define AS7341_ASTATUS     (0X94)


#define AS7341_CH0_DATA_L  (0X95)
#define AS7341_CH0_DATA_H  (0X96)
#define AS7341_CH1_DATA_L  (0X97)
#define AS7341_CH1_DATA_H  (0X98)
#define AS7341_CH2_DATA_L  (0X99)
#define AS7341_CH2_DATA_H  (0X9A)
#define AS7341_CH3_DATA_L  (0X9B)
#define AS7341_CH3_DATA_H  (0X9C)
#define AS7341_CH4_DATA_L  (0X9D)
#define AS7341_CH4_DATA_H  (0X9E)
#define AS7341_CH5_DATA_L  (0X9F)
#define AS7341_CH5_DATA_H  (0XA0)

#define AS7341_STATUS_2    (0XA3)
#define AS7341_STATUS_3    (0XA4)
#define AS7341_STATUS_5    (0XA6)
#define AS7341_STATUS_6    (0XA7)
#define AS7341_CFG_0       (0XA9)
#define AS7341_CFG_1       (0XAA)
#define AS7341_CFG_3       (0XAC)
#define AS7341_CFG_6       (0XAF)
#define AS7341_CFG_8       (0XB1)
#define AS7341_CFG_9       (0XB2)
#define AS7341_CFG_10      (0XB3)
#define AS7341_CFG_12      (0XB5)


#define AS7341_PERS          (0XBD)
#define AS7341_GPIO_2        (0XBE)
#define AS7341_ASTEP_L       (0XCA)
#define AS7341_ASTEP_H       (0XCB)
#define AS7341_AGC_GAIN_MAX  (0XCF)
#define AS7341_AZ_CONFIG     (0XD6)
#define AS7341_FD_TIME_1     (0XD8)
#define AS7341_TIME_2        (0XDA)
#define AS7341_CFG0          (0XD7)
#define AS7341_STATUS        (0XDB)
#define AS7341_INTENAB       (0XF9)
#define AS7341_CONTROL       (0XFA)
#define AS7341_FIFO_MAP      (0XFC)
#define AS7341_FIFO_LVL      (0XFD)
#define AS7341_FDATA_L       (0XFE)
#define AS7341_FDATA_H       (0XFF)


#define AS7341_GPIO               4


  /**
    The measurement mode of spectrum snesor 
  */
  typedef enum {
    eSpm = 0,/**<SPM>*/
    eSyns = 1,/**<SYNS*/
    eSynd = 3,/**<SYND>*/
    
  }eMode_t;
  
   /**
    The modes of channel mapping 
  */
  typedef enum{
    eF1F4ClearNIR,/**<Map the values of the registers of 6 channels to F1,F2,F3,F4,clear,NIR>*/
    eF5F8ClearNIR,/**<Map the values of the registers of 6 channels to F5,F6,F7,F8,clear,NIR>*/
  }eChChoose_t;
  
    /**
    Represent 10 different photodiode measurement channels 
  */
  typedef enum{
    eCH_F1,
    eCH_F2,
    eCH_F3,
    eCH_F4,
    eCH_F5,
    eCH_F6,
    eCH_F7,
    eCH_F8,
    eCH_CLEAR,
    eCH_NIR,
  }eChannel_t;
  
   /**
    The values of the registers of 6 channels under eF1F4ClearNIR
  */
  typedef struct{
    uint16_t channel1;/**<channel1 diode data>*/
    uint16_t channel2;/**<channel2 diode data>*/
    uint16_t channel3;/**<channel3 diode data>*/
    uint16_t channel4;/**<channel4 diode data>*/
    uint16_t CLEAR;/**<clear diode data>*/
    uint16_t NIR;/**<NIR diode data>*/
  }sModeOneData_t;

    /**
    The values of the registers of 6 channels under eF5F8ClearNIR
  */
  typedef struct{
    uint16_t channel5;/**<channel5 diode data>*/
    uint16_t channel6;/**<channel6 diode data>*/
    uint16_t channel7;/**<channel7 diode data>*/
    uint16_t channel8;/**<channel8 diode data>*/
    uint16_t CLEAR;/**<clear diode data>*/
    uint16_t NIR;/**<NIR diode data>*/
  }sModeTwoData_t;
  
int AS7341_Init(const struct device *i2c_dev, eMode_t mode);
void AS7341_Enable(const struct device *i2c_dev, bool flag);
void AS7341_EnableSpectralMeasure(const struct device *i2c_dev, bool flag);
void AS7341_EnableSMUX(const struct device *i2c_dev, bool flag);
void AS7341_EnableFlickerDetection(const struct device *i2c_dev, bool flag);
void F1F4_Clear_NIR(const struct device *i2c_dev);
void F5F8_Clear_NIR(const struct device *i2c_dev);
void FDConfig();
void AS7341_startMeasure(const struct device *i2c_dev, eChChoose_t mode, eMode_t measureMode);
uint8_t AS7341_ReadFlickerData();
int AS7341_GetChannelData(const struct device *i2c_dev, uint8_t channel,uint16_t *data);
sModeOneData_t AS7341_ReadSpectralDataOne(const struct device *i2c_dev);
sModeTwoData_t AS7341_ReadSpectralDataTwo(const struct device *i2c_dev);
void AS7341_Config(const struct device *i2c_dev, eMode_t mode);
bool AS7341_MeasureComplete();
void AS7341_SetGpioMode(const struct device *i2c_dev, uint8_t mode);
void AS7341_SetBank(const struct device *i2c_dev, uint8_t addr);
void AS7341_EnableLED(const struct device *i2c_dev, bool flag);
void AS7341_ControlLed(const struct device *i2c_dev, bool LED, uint8_t current);
void AS7341_INTerrupt();
void AS7341_ClearInterrupt();
void AS7341_EnableSpectralInterrupt(bool flag);
void AS7341_SetThreshold(uint16_t lowThre,uint16_t highThre);
uint16_t AS7341_GetLowThreshold();
uint16_t AS7341_GetHighThreshold();
void AS7341_ATIME_config(const struct device *i2c_dev, uint8_t value);
void AS7341_ASTEP_config(const struct device *i2c_dev, uint16_t value);
void AS7341_AGAIN_config(const struct device *i2c_dev, uint8_t value);
void AS7341_SetInterruptPersistence(uint8_t value);
void AS7341_SetSpectralThresholdChannel(uint8_t value);
void AS7341_SynsINT_sel();
void AS7341_disableALL();
int DEV_I2C_Query(const struct device *i2c_dev);
static const struct device *get_i2c_device(void);


#endif
#ifndef _CONFIG_H
#define _CONFIG_H
#endif

#ifndef ZEPHYR_INCLUDE_ZSL_COLORIMETRY_H_
 #define ZEPHYR_INCLUDE_ZSL_COLORIMETRY_H_
#endif
```

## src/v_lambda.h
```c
static const float v_lambda[401] = {
    0.0000390000, 0.0000428264, 0.0000469146, 0.0000515896, 0.0000571764, 0.0000640000, 0.0000723442, 0.0000822122, 
    0.0000935082, 0.0001061361, 0.0001200000, 0.0001349840, 0.0001514920, 0.0001702080, 0.0001918160, 0.0002170000, 
    0.0002469067, 0.0002812400, 0.0003185200, 0.0003572667,0.0003960000, 0.0004337147, 0.0004730240, 0.0005178760, 
    0.0005722187, 0.0006400000, 0.0007245600, 0.0008255000, 0.0009411600, 0.0010698800, 0.0012100000, 0.0013620910, 
    0.0015307520, 0.0017203680, 0.0019353230, 0.0021800000, 0.0024548000, 0.0027640000, 0.0031178000, 0.0035264000, 
    0.0040000000, 0.0045462400, 0.0051593200, 0.0058292800, 0.0065461600, 0.0073000000, 0.0080865070, 0.0089087200, 
    0.0097676800, 0.0106644300, 0.0116000000, 0.0125731700, 0.0135827200, 0.0146296800, 0.0157150900, 0.0168400000, 
    0.0180073600, 0.0192144800, 0.0204539200, 0.0217182400, 0.0230000000, 0.0242946100, 0.0256102400, 0.0269585700, 
    0.0283512500, 0.0298000000, 0.0313108300, 0.0328836800, 0.0345211200, 0.0362257100, 0.0380000000, 0.0398466700, 
    0.0417680000, 0.0437660000, 0.0458426700, 0.0480000000, 0.0502436800, 0.0525730400, 0.0549805600, 0.0574587200, 
    0.0600000000, 0.0626019700, 0.0652775200, 0.0680420800, 0.0709110900, 0.0739000000, 0.0770160000, 0.0802664000, 
    0.0836668000, 0.0872328000, 0.0909800000, 0.0949175500, 0.0990458400, 0.1033674000, 0.1078846000, 0.1126000000, 
    0.1175320000, 0.1226744000, 0.1279928000, 0.1334528000, 0.1390200000, 0.1446764000, 0.1504693000, 0.1564619000, 
    0.1627177000, 0.1693000000, 0.1762431000, 0.1835581000, 0.1912735000, 0.1994180000, 0.2080200000, 0.2171199000, 
    0.2267345000, 0.2368571000, 0.2474812000, 0.2586000000, 0.2701849000, 0.2822939000, 0.2950505000, 0.3085780000, 
    0.3230000000, 0.3384021000, 0.3546858000, 0.3716986000, 0.3892875000, 0.4073000000, 0.4256299000, 0.4443096000, 
    0.4633944000, 0.4829395000, 0.5030000000, 0.5235693000, 0.5445120000, 0.5656900000, 0.5869653000, 0.6082000000, 
    0.6293456000, 0.6503068000, 0.6708752000, 0.6908424000, 0.7100000000, 0.7281852000, 0.7454636000, 0.7619694000, 
    0.7778368000, 0.7932000000, 0.8081104000, 0.8224962000, 0.8363068000, 0.8494916000, 0.8620000000, 0.8738108000, 
    0.8849624000, 0.8954936000, 0.9054432000, 0.9148501000, 0.9237348000, 0.9320924000, 0.9399226000, 0.9472252000, 
    0.9540000000, 0.9602561000, 0.9660074000, 0.9712606000, 0.9760225000, 0.9803000000, 0.9840924000, 0.9874182000, 
    0.9903128000, 0.9928116000, 0.9949501000, 0.9967108000, 0.9980983000, 0.9991120000, 0.9997482000, 1.0000000000, 
    0.9998567000, 0.9993046000, 0.9983255000, 0.9968987000, 0.9950000000, 0.9926005000, 0.9897426000, 0.9864444000, 
    0.9827241000, 0.9786000000, 0.9740837000, 0.9691712000, 0.9638568000, 0.9581349000, 0.9520000000, 0.9454504000,
    0.9384992000, 0.9311628000, 0.9234576000, 0.9154000000, 0.9070064000, 0.8982772000, 0.8892048000, 0.8797816000, 
    0.8700000000, 0.8598613000, 0.8493920000, 0.8386220000, 0.8275813000, 0.8163000000, 0.8047947000, 0.7930820000, 
    0.7811920000, 0.7691547000, 0.7570000000, 0.7447541000, 0.7324224000, 0.7200036000, 0.7074965000, 0.6949000000, 
    0.6822192000, 0.6694716000, 0.6566744000, 0.6438448000, 0.6310000000, 0.6181555000, 0.6053144000, 0.5924756000, 
    0.5796379000, 0.5668000000, 0.5539611000, 0.5411372000, 0.5283528000, 0.5156323000, 0.5030000000, 0.4904688000, 
    0.4780304000, 0.4656776000, 0.4534032000, 0.4412000000, 0.4290800000, 0.4170360000, 0.4050320000, 0.3930320000, 
    0.3810000000, 0.3689184000, 0.3568272000, 0.3447768000, 0.3328176000, 0.3210000000, 0.3093381000, 0.2978504000, 
    0.2865936000, 0.2756245000, 0.2650000000, 0.2547632000, 0.2448896000, 0.2353344000, 0.2260528000, 0.2170000000, 
    0.2081616000, 0.1995488000, 0.1911552000, 0.1829744000, 0.1750000000, 0.1672235000, 0.1596464000, 0.1522776000, 
    0.1451259000, 0.1382000000, 0.1315003000, 0.1250248000, 0.1187792000, 0.1127691000, 0.1070000000, 0.1014762000, 
    0.0961886400, 0.0911229600, 0.0862648500, 0.0816000000, 0.0771206400, 0.0728255200, 0.0687100800, 0.0647697600,
    0.0610000000, 0.0573962100, 0.0539550400, 0.0506737600, 0.0475496500, 0.0445800000, 0.0417587200, 0.0390849600, 
    0.0365638400, 0.0342004800, 0.0320000000, 0.0299626100, 0.0280766400, 0.0263293600, 0.0247080500, 0.0232000000, 
    0.0218007700, 0.0205011200, 0.0192810800, 0.0181206900, 0.0170000000, 0.0159037900, 0.0148371800, 0.0138106800, 
    0.0128347800, 0.0119200000, 0.0110683100, 0.0102733900, 0.0095333110, 0.0088461570, 0.0082100000, 0.0076237810, 
    0.0070854240, 0.0065914760, 0.0061384850, 0.0057230000, 0.0053430590, 0.0049957960, 0.0046764040, 0.0043800750, 
    0.0041020000, 0.0038384530, 0.0035890990, 0.0033542190, 0.0031340930, 0.0029290000, 0.0027381390, 0.0025598760,
    0.0023932440, 0.0022372750, 0.0020910000, 0.0019535870, 0.0018245800, 0.0017035800, 0.0015901870, 0.0014840000, 
    0.0013844960, 0.0012912680, 0.0012040920, 0.0011227440, 0.0010470000, 0.0009765896, 0.0009111088, 0.0008501332, 
    0.0007932384, 0.0007400000, 0.0006900827, 0.0006433100, 0.0005994960, 0.0005584547, 0.0005200000, 0.0004839136, 
    0.0004500528, 0.0004183452, 0.0003887184, 0.0003611000, 0.0003353835, 0.0003114404, 0.0002891656, 0.0002684539, 
    0.0002492000, 0.0002313019, 0.0002146856, 0.0001992884, 0.0001850475, 0.0001719000, 0.0001597781, 0.0001486044, 
    0.0001383016, 0.0001287925, 0.0001200000, 0.0001118595, 0.0001043224, 0.0000973356, 0.0000908459, 0.0000848000, 
    0.0000791467, 0.0000738580, 0.0000689160, 0.0000643027, 0.0000600000, 0.0000559819, 0.0000522256, 0.0000487184, 
    0.0000454475, 0.0000424000, 0.0000395610, 0.0000369151, 0.0000344487, 0.0000321482, 0.0000300000, 0.0000279913, 
    0.0000261136, 0.0000243602, 0.0000227246, 0.0000212000, 0.0000197786, 0.0000184529, 0.0000172169, 0.0000160646,
    0.0000149900
     
};
```
